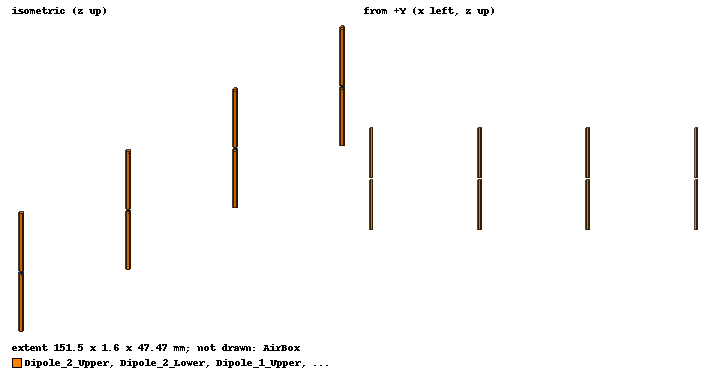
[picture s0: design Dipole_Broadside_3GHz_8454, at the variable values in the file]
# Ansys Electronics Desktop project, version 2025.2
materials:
  vacuum: permittivity=1
  pec: conductivity=1e+30

design Dipole_Broadside_3GHz_8454 (HFSS, HFSS Hybrid Modal Network, model units mm)
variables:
  f0 = 3GHz
  lambda0 = 99.9308mm
  d_elem = 49.9654mm
  L_dipole = 47.4671mm
  r_dipole = 0.8mm
  g_feed = 1.2mm
  L_arm = 23.1336mm
  beta_deg = 0deg
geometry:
  Dipole_1_Upper [pec] = cylinder(axis=Z, base_centre=(0mm, 0mm, 0.6mm), radius=0.8mm, height=23.1336mm)
  Dipole_1_Lower [pec] = cylinder(axis=Z, base_centre=(0mm, 0mm, -0.6mm), radius=0.8mm, height=-23.1336mm)
  Port_Sheet_1 = rectangle(corner=(0mm, -0.8mm, -0.6mm), y_size=1.6mm, z_size=1.2mm)
  Dipole_2_Upper [pec] = cylinder(axis=Z, base_centre=(49.9654mm, 0mm, 0.6mm), radius=0.8mm, height=23.1336mm)
  Dipole_2_Lower [pec] = cylinder(axis=Z, base_centre=(49.9654mm, 0mm, -0.6mm), radius=0.8mm, height=-23.1336mm)
  Port_Sheet_2 = rectangle(corner=(49.9654mm, -0.8mm, -0.6mm), y_size=1.6mm, z_size=1.2mm)
  Dipole_3_Upper [pec] = cylinder(axis=Z, base_centre=(99.9308mm, 0mm, 0.6mm), radius=0.8mm, height=23.1336mm)
  Dipole_3_Lower [pec] = cylinder(axis=Z, base_centre=(99.9308mm, 0mm, -0.6mm), radius=0.8mm, height=-23.1336mm)
  Port_Sheet_3 = rectangle(corner=(99.9308mm, -0.8mm, -0.6mm), y_size=1.6mm, z_size=1.2mm)
  Dipole_4_Upper [pec] = cylinder(axis=Z, base_centre=(149.8962mm, 0mm, 0.6mm), radius=0.8mm, height=23.1336mm)
  Dipole_4_Lower [pec] = cylinder(axis=Z, base_centre=(149.8962mm, 0mm, -0.6mm), radius=0.8mm, height=-23.1336mm)
  Port_Sheet_4 = rectangle(corner=(149.8962mm, -0.8mm, -0.6mm), y_size=1.6mm, z_size=1.2mm)
  AirBox [vacuum] = box(corner=(-49.9654mm, -49.9654mm, -73.699mm), size=(249.827mm, 99.9308mm, 147.398mm))
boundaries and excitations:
  Rad_AirBox: Radiation Objects=AirBox
  Port1: Lumped Port Objects=Port_Sheet_1 LumpedPortType=Modal Modes{Mode1{IntLine{(0, 0, -0.6) -> (0, 0, 0.6)} CharImp=Zpi RenormImp=50ohm}} Impedance=50ohm
  Port2: Lumped Port Objects=Port_Sheet_2 LumpedPortType=Modal Modes{Mode1{IntLine{(49.9654, 0, -0.6) -> (49.9654, 0, 0.6)} CharImp=Zpi RenormImp=50ohm}} Impedance=50ohm
  Port3: Lumped Port Objects=Port_Sheet_3 LumpedPortType=Modal Modes{Mode1{IntLine{(99.9308, 0, -0.6) -> (99.9308, 0, 0.6)} CharImp=Zpi RenormImp=50ohm}} Impedance=50ohm
  Port4: Lumped Port Objects=Port_Sheet_4 LumpedPortType=Modal Modes{Mode1{IntLine{(149.8962, 0, -0.6) -> (149.8962, 0, 0.6)} CharImp=Zpi RenormImp=50ohm}} Impedance=50ohm
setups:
  Setup_3GHz: HfssDriven Frequency=3GHz MaxDeltaS=0.02 MaximumPasses=15 MinimumPasses=2 MinimumConvergedPasses=2 PercentRefinement=30 BasisOrder=1 PortAccuracy=2 DrivenSolverType="Direct Solver"
    sweep Sweep_2p5_to_3p5GHz: 2.5GHz to 3.5GHz, 101 points; Type=Interpolating InterpTolerance=0.5 InterpMaxSolns=250 InterpUsePortImped=false PassivityErrorTolerance=0.0001
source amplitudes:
  Port1:1, Port2:1, Port3:1, Port4:1: 1W 0deg
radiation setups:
  Infinite_Sphere_3D: Infinite Sphere Theta=-180deg..180deg step 2deg Phi=-180deg..180deg step 2deg
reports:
  Reflection_S_Parameters_dB: dB(S(Port1,Port1)), dB(S(Port2,Port2)), dB(S(Port3,Port3)), dB(S(Port4,Port4)) vs Freq on Setup_3GHz : Sweep_2p5_to_3p5GHz
  Active_S_Parameters_dB: dB(ActiveS(Port1:1)), dB(ActiveS(Port2:1)), dB(ActiveS(Port3:1)), dB(ActiveS(Port4:1)) vs Freq on Setup_3GHz : Sweep_2p5_to_3p5GHz
  Broadside_Azimuth_Pattern_XY: dB(GainTotal), dB(DirTotal) vs Phi on Setup_3GHz : LastAdaptive, Infinite_Sphere_3D [Theta=90deg Freq=3GHz]
  Broadside_Elevation_Pattern_YZ: dB(GainTotal), dB(DirTotal) vs Theta on Setup_3GHz : LastAdaptive, Infinite_Sphere_3D [Phi=90deg Freq=3GHz]
  3D_Broadside_Gain_Pattern: dB(GainTotal) vs Phi, Theta on Setup_3GHz : LastAdaptive, Infinite_Sphere_3D [Freq=3GHz]
